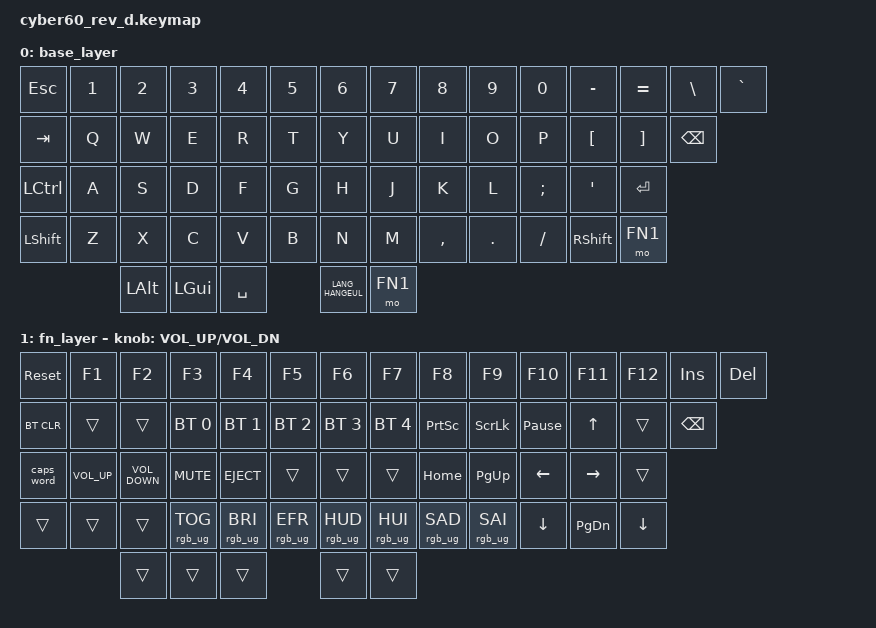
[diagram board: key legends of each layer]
#include <behaviors.dtsi>
#include <dt-bindings/zmk/bt.h>
#include <dt-bindings/zmk/keys.h>
#include <dt-bindings/zmk/rgb.h>

#define FN1 1

/ {
    keymap {
        compatible = "zmk,keymap";

        base_layer {
            // Base layer
            // ------------------------------------------------------------------------------------------
            // | ESC |  1  |  2  |  3  |  4  |  5  |  6  |  7  |  8  |  9  |  0  |  -  |  =  | "|" | `  |
            // |  TAB |  Q  |  W  |  E  |  R  |  T  |  Y  |  U  |  I  |  O  |  P  |  [  |  ]  |   BKSP  |
            // | LCTL  |  A  |  S  |  D  |  F  |  G  |  H  |  J  |  K  |  L  |  ;  |  '  |      ENTER   |
            // | SHIFT  | Z |  X  |  C  |  V  |  B  |  N  |  M  |  ,  |  .  |  /  |    Shift   | FN |
            // |  LALT  |  LWIN  |     SPACE   |  RALT | FN  |
            // | Rotary | (<-- Rotary switch) ----------------------------------------------------------- 

            bindings = <
&kp ESC           &kp N1  &kp N2        &kp N3        &kp N4     &kp N5  &kp N6            &kp N7   &kp N8     &kp N9   &kp N0    &kp MINUS  &kp EQUAL  &kp BSLH       &kp GRAVE
&kp TAB           &kp Q   &kp W         &kp E         &kp R      &kp T   &kp Y             &kp U    &kp I      &kp O    &kp P     &kp LBKT   &kp RBKT   &kp BACKSPACE
&kp LEFT_CONTROL  &kp A   &kp S         &kp D         &kp F      &kp G   &kp H             &kp J    &kp K      &kp L    &kp SEMI  &kp SQT    &kp RET
&kp LSHFT         &kp Z   &kp X         &kp C         &kp V      &kp B   &kp N             &kp M    &kp COMMA  &kp DOT  &kp FSLH  &kp RSHFT  &mo FN1
                          &kp LEFT_ALT  &kp LEFT_GUI  &kp SPACE          &kp LANG_HANGEUL  &mo FN1
            >;
        };

        fn_layer {
            // Function layer
            // ------------------------------------------------------------------------------------------
            // | RESET | F1 |  F2 |  F3 |  F4 |  F5 |  F6 |  F7 |  F8 |  F9 | F10 | F11 | F12 |TRNS | DEL |
            // |BT_CLR |TRNS | UP  | BT0 | BT1 | BT2 | BT3 | BT4 | TRNS | TRNS | TRNS | TRNS | TRNS | TRNS|
            // | BOOTL  |LEFT |DOWN |RIGHT|TRNS |TRNS |TRNS | TRNS| TRNS |TRNS| TRNS |TRNS | TRNS  |
            // | TRNS |TRNS|TRNS|TRNS | TRNS| TRNS | TRNS |  TRNS| TRNS | TRNS| TRNS |   TRNS   |TRNS|
            // |  TRNS | TRNS | TRNS |      TRNS      | TRNS |
            // | Rotary | (<-- Rotary switch) ----------------------------------------------------------- 

            bindings = <
&sys_reset  &kp F1           &kp F2             &kp F3           &kp F4           &kp F5           &kp F6           &kp F7           &kp F8           &kp F9           &kp F10          &kp F11        &kp F12   &kp INSERT     &kp DEL
&bt BT_CLR  &trans           &trans             &bt BT_SEL 0     &bt BT_SEL 1     &bt BT_SEL 2     &bt BT_SEL 3     &bt BT_SEL 4     &kp PRINTSCREEN  &kp SCROLLLOCK   &kp PAUSE_BREAK  &kp UP         &trans    &kp BACKSPACE
&caps_word  &kp C_VOLUME_UP  &kp C_VOLUME_DOWN  &kp K_MUTE       &kp C_EJECT      &trans           &trans           &trans           &kp HOME         &kp PAGE_UP      &kp LEFT         &kp RIGHT      &trans
&trans      &trans           &trans             &rgb_ug RGB_TOG  &rgb_ug RGB_BRI  &rgb_ug RGB_EFR  &rgb_ug RGB_HUD  &rgb_ug RGB_HUI  &rgb_ug RGB_SAD  &rgb_ug RGB_SAI  &kp DOWN         &kp PAGE_DOWN  &kp DOWN
                             &trans             &trans           &trans                            &trans           &trans
            >;

            sensor-bindings = <&inc_dec_kp C_VOL_UP C_VOL_DN>;
        };
    };
};
